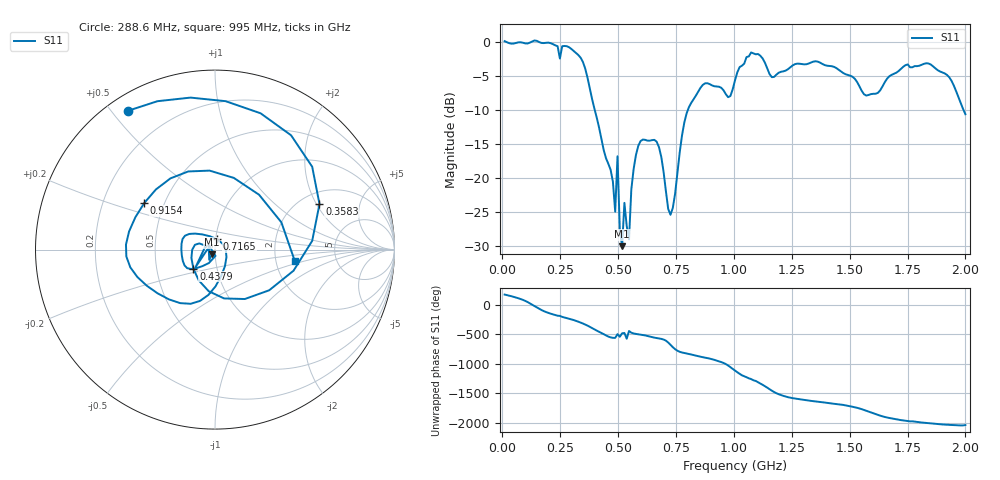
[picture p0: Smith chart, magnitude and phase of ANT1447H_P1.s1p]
!Created with skrf (http://scikit-rf.org).
# Hz S RI R 50.0
!freq ReS11 ImS11
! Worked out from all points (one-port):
!   201 points, 10 MHz to 2 GHz, reference 50 ohm
!   lowest |S11| = -30.1 dB at 517.5 MHz (marker M1), VSWR 1.06, Z = 48.2 - j2.5 ohm
!   |S11| at or under -10 dB: 399.2 MHz to 801.7 MHz (402.5 MHz wide, 67 % of centre); 1.991603 GHz to end of sweep
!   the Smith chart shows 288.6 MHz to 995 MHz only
!   S11 on the Smith chart (normalised r, x): 288.6 MHz: 0.06, +0.55; 358.2 MHz: 2.50, +2.12; 437.9 MHz: 0.77, -0.17; 716.5 MHz: 1.01, +0.12; 915.5 MHz: 0.39, +0.26; 995 MHz: 2.55, -0.39
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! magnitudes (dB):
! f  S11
! 10 MHz  0.1
! 258.8 MHz  -0.6
! 288.6 MHz  -0.8
! 358.2 MHz  -3.9
! 437.9 MHz  -15.9
! 487.6 MHz  -25.0
! 497.6 MHz  -16.8
! 507.5 MHz  -27.6
! 517.5 MHz  -30.1
! 527.4 MHz  -23.7
! 547.3 MHz  -29.1
! 567.2 MHz  -18.7
! 597 MHz  -14.6
! 676.6 MHz  -15.5
! 716.5 MHz  -24.6
! 756.2 MHz  -19.3
! 806 MHz  -9.6
! 915.5 MHz  -6.5
! 995 MHz  -7.0
! 1.005 GHz  -5.7
! 1.075 GHz  -1.6
! 1.164 GHz  -5.2
! 1.254 GHz  -3.5
! 1.502 GHz  -5.0
! 1.572 GHz  -7.9
! 1.751 GHz  -3.3
! 1.92 GHz  -4.9
! 2 GHz  -10.6
